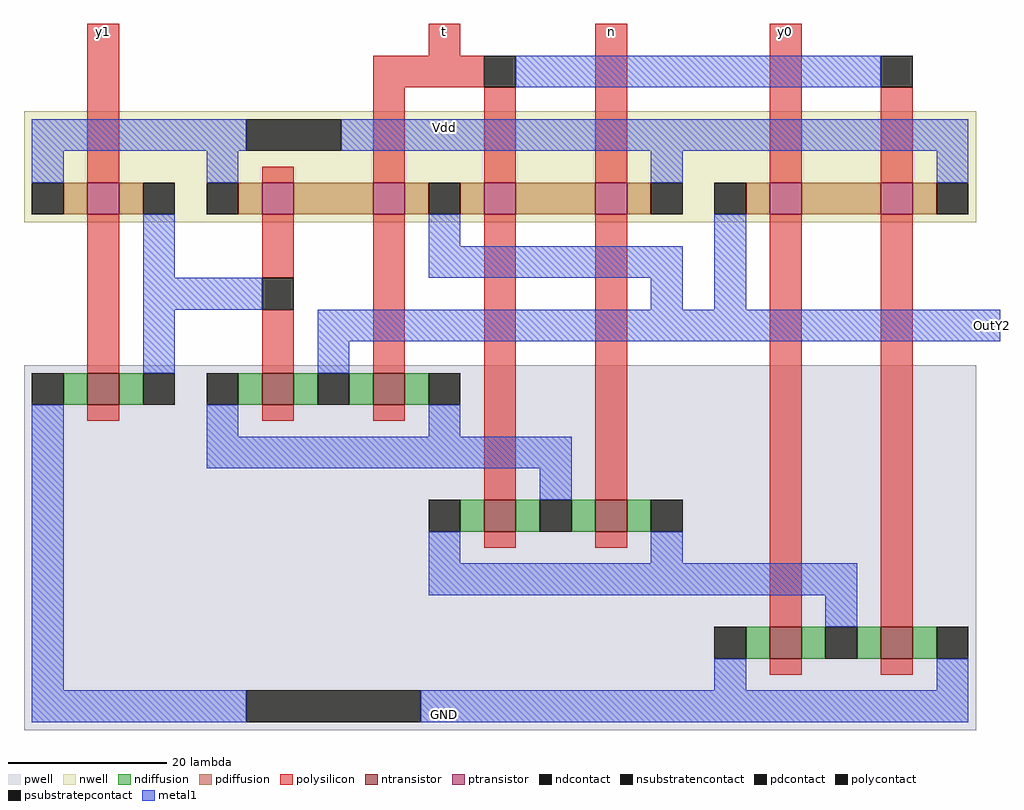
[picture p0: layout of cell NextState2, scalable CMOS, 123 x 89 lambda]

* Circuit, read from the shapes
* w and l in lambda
.subckt NextState2 GND OutY2 Vdd n t y0 y1
M1 n1 y1 GND GND nfet w=4 l=4
M2 OutY2 n1 n2 GND nfet w=4 l=4
M3 n2 t OutY2 GND nfet w=4 l=4
M4 n2 t n3 GND nfet w=4 l=4
M5 n3 n n2 GND nfet w=4 l=4
M6 n3 y0 GND GND nfet w=4 l=4
M7 GND t n3 GND nfet w=4 l=4
M8 n1 y1 Vdd Vdd pfet w=4 l=4
M9 n4 n1 Vdd Vdd pfet w=4 l=4
M10 OutY2 t n4 Vdd pfet w=4 l=4
M11 n5 t OutY2 Vdd pfet w=4 l=4
M12 Vdd n n5 Vdd pfet w=4 l=4
M13 n6 y0 OutY2 Vdd pfet w=4 l=4
M14 Vdd t n6 Vdd pfet w=4 l=4
.ends

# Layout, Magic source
magic
tech scmos
<< pwell >>
rect -84 -16 36 30
<< nwell >>
rect -84 48 36 62
<< polysilicon >>
rect -76 53 -72 73
rect -33 69 -29 73
rect -40 65 -26 69
rect -54 53 -50 55
rect -40 53 -36 65
rect -26 53 -22 65
rect -12 53 -8 73
rect 10 53 14 73
rect 24 53 28 65
rect -76 29 -72 49
rect -54 41 -50 49
rect -54 29 -50 37
rect -40 29 -36 49
rect -76 23 -72 25
rect -54 23 -50 25
rect -40 23 -36 25
rect -26 13 -22 49
rect -12 13 -8 49
rect -26 7 -22 9
rect -12 7 -8 9
rect 10 -3 14 49
rect 24 -3 28 49
rect 10 -9 14 -7
rect 24 -9 28 -7
<< ndiffusion >>
rect -79 25 -76 29
rect -72 25 -69 29
rect -57 25 -54 29
rect -50 25 -47 29
rect -43 25 -40 29
rect -36 25 -33 29
rect -29 9 -26 13
rect -22 9 -19 13
rect -15 9 -12 13
rect -8 9 -5 13
rect 7 -7 10 -3
rect 14 -7 17 -3
rect 21 -7 24 -3
rect 28 -7 31 -3
<< pdiffusion >>
rect -79 49 -76 53
rect -72 49 -69 53
rect -57 49 -54 53
rect -50 49 -40 53
rect -36 49 -33 53
rect -29 49 -26 53
rect -22 49 -12 53
rect -8 49 -5 53
rect 7 49 10 53
rect 14 49 24 53
rect 28 49 31 53
<< metal1 >>
rect -22 65 24 69
rect -83 57 -56 61
rect -44 57 35 61
rect -83 53 -79 57
rect -61 53 -57 57
rect -5 53 -1 57
rect 31 53 35 57
rect -69 41 -65 49
rect -33 45 -29 49
rect -33 41 -1 45
rect -69 37 -54 41
rect -5 37 -1 41
rect 3 37 7 49
rect -69 29 -65 37
rect -47 33 39 37
rect -47 29 -43 33
rect -83 -11 -79 25
rect -61 21 -57 25
rect -33 21 -29 25
rect -61 17 -15 21
rect -19 13 -15 17
rect -33 5 -29 9
rect -5 5 -1 9
rect -33 1 21 5
rect 17 -3 21 1
rect 3 -11 7 -7
rect 31 -11 35 -7
rect -83 -15 -56 -11
rect -34 -15 35 -11
<< ntransistor >>
rect -76 25 -72 29
rect -54 25 -50 29
rect -40 25 -36 29
rect -26 9 -22 13
rect -12 9 -8 13
rect 10 -7 14 -3
rect 24 -7 28 -3
<< ptransistor >>
rect -76 49 -72 53
rect -54 49 -50 53
rect -40 49 -36 53
rect -26 49 -22 53
rect -12 49 -8 53
rect 10 49 14 53
rect 24 49 28 53
<< polycontact >>
rect -26 65 -22 69
rect 24 65 28 69
rect -54 37 -50 41
<< ndcontact >>
rect -83 25 -79 29
rect -69 25 -65 29
rect -61 25 -57 29
rect -47 25 -43 29
rect -33 25 -29 29
rect -33 9 -29 13
rect -19 9 -15 13
rect -5 9 -1 13
rect 3 -7 7 -3
rect 17 -7 21 -3
rect 31 -7 35 -3
<< pdcontact >>
rect -83 49 -79 53
rect -69 49 -65 53
rect -61 49 -57 53
rect -33 49 -29 53
rect -5 49 -1 53
rect 3 49 7 53
rect 31 49 35 53
<< psubstratepcontact >>
rect -56 -15 -34 -11
<< nsubstratencontact >>
rect -56 57 -44 61
<< labels >>
rlabel metal1 38 35 38 35 7 OutY2
rlabel polysilicon -74 72 -74 72 5 y1
rlabel polysilicon -31 72 -31 72 5 t
rlabel polysilicon -10 72 -10 72 5 n
rlabel polysilicon 12 72 12 72 5 y0
rlabel metal1 -31 60 -31 60 5 Vdd
rlabel metal1 -31 -14 -31 -14 1 GND
<< end >>
